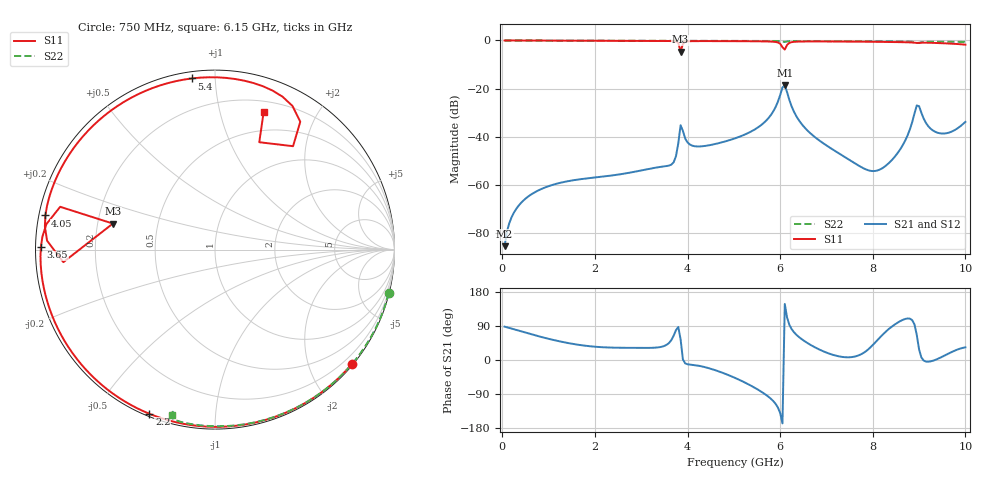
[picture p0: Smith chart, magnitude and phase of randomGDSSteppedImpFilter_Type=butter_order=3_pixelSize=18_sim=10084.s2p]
! freq	dB(S11)	phase(S11)	dB(S12)	phase(S12)
!  dB(S21)	phase(S21)	dB(S22)	phase(S22)
!S-par simulation data
#  GHz  S  DB  R 50
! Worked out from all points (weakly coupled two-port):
!   200 points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, 50 MHz to 10 GHz, reference 50 ohm
!   highest |S21| = -18.64 dB at 6.1 GHz (marker M1); lowest = -85.5 dB at 50 MHz (marker M2)
!   lowest |S11| = -4.6 dB at 3.85 GHz (marker M3), VSWR 3.84, Z = 13.2 + j5.84 ohm
!   |S11| at or under -10 dB: nowhere
!   |S22| runs from -1.0 to 0.0 dB; largest |S21 - S12| = 0
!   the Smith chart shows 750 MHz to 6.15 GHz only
!   S11 on the Smith chart (normalised r, x): 750 MHz: 0.03, -2.75; 2.2 GHz: 0.01, -0.68; 3.65 GHz: 0.02, +0.01; 4.05 GHz: 0.02, +0.10; 5.4 GHz: 0.03, +0.87; 6.15 GHz: 0.31, +1.37
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0.05  -0.00 -2.7  -85.50 88.1  -85.50 88.1  -0.00 -1.0
0.75  -0.05 -40.0  -62.60 63.7  -62.60 63.7  -0.02 -14.1
1.75  -0.11 -90.4  -57.51 38.3  -57.51 38.3  -0.04 -32.5
2.2  -0.13 -111.8  -56.51 33.5  -56.51 33.5  -0.05 -40.7
3.4  -0.20 -167.4  -52.59 33.9  -52.59 33.9  -0.08 -61.6
3.65  -0.26 179.2  -51.62 52.5  -51.62 52.5  -0.09 -65.9
3.75  -0.44 171.4  -48.13 78.8  -48.13 78.8  -0.09 -67.6
3.85  -4.62 165.7  -35.25 54.8  -35.25 54.8  -0.10 -69.3
3.9  -1.43 -175.3  -37.55 1.7  -37.55 1.7  -0.10 -70.1
4.05  -0.32 168.6  -43.23 -12.0  -43.23 -12.0  -0.10 -72.6
5.05  -0.30 116.4  -40.52 -48.5  -40.52 -48.5  -0.14 -88.9
5.4  -0.33 97.6  -37.57 -69.8  -37.57 -69.8  -0.15 -94.5
6  -1.35 56.3  -22.70 -139.9  -22.70 -139.9  -0.32 -104.9
6.1  -3.78 67.6  -18.64 147.9  -18.64 147.9  -0.60 -104.6
6.15  -1.82 70.5  -21.53 111.8  -21.53 111.8  -0.41 -104.4
6.7  -0.41 29.8  -39.37 36.8  -39.37 36.8  -0.23 -113.8
7.9  -0.53 -37.7  -53.94 27.8  -53.94 27.8  -0.32 -131.9
8.35  -0.62 -61.9  -50.91 82.2  -50.91 82.2  -0.36 -138.7
8.7  -0.74 -80.8  -41.63 108.3  -41.63 108.3  -0.41 -144.5
8.95  -1.04 -94.2  -27.01 66.1  -27.01 66.1  -1.04 -149.0
9.4  -1.07 -120.1  -38.36 2.8  -38.36 2.8  -0.51 -153.3
10  -1.75 -163.1  -33.85 33.4  -33.85 33.4  -0.59 -163.1
